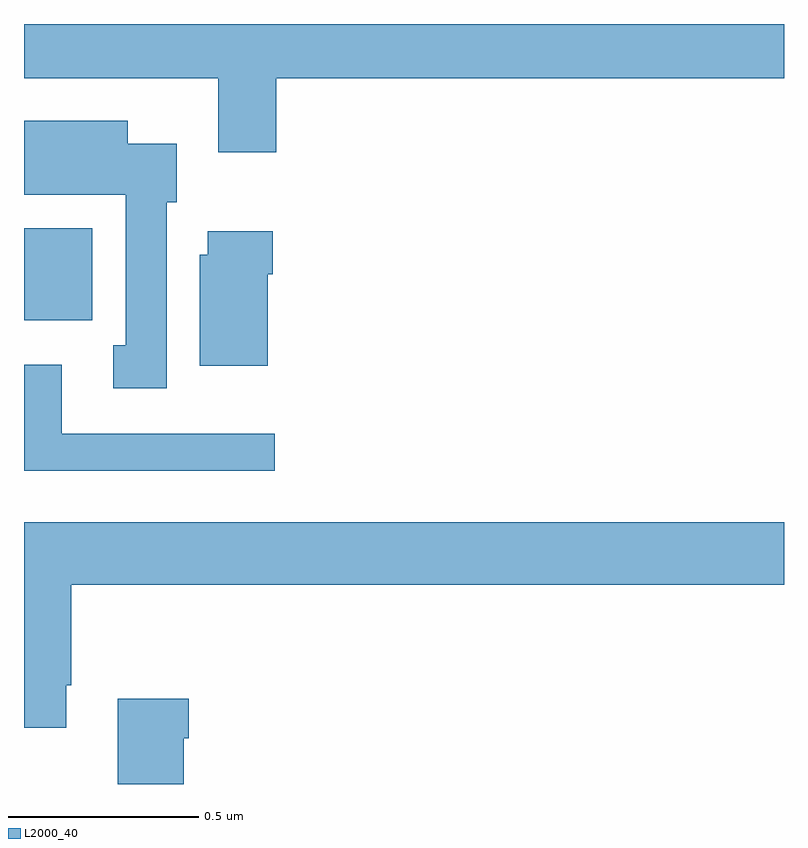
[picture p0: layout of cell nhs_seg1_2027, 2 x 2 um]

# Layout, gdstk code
import gdstk
lib = gdstk.Library(unit=1e-6, precision=1e-09)
def R(c, l, rs):  # rectangles x0, y0, x1, y1
    for r in rs: c.add(gdstk.rectangle(r[:2], r[2:], *l))
def P(c, l, *ps):  # polygons
    for p in ps: c.add(gdstk.Polygon(p, *l))
L2000_40 = (2000, 40)

nhs_seg1_2027 = lib.new_cell('nhs_seg1_2027')
R(nhs_seg1_2027, L2000_40, [(136,560.42,136.18,560.662)])
P(nhs_seg1_2027, L2000_40, [(136.664,561.056),(138,561.056),(138,561.199),(136,561.199),(136,561.056),(136.511,561.056),(136.511,560.862),(136.664,560.862)],
  [(136.375,560.73),(136.402,560.73),(136.402,560.884),(136.273,560.884),(136.273,560.944),(136,560.944),(136,560.75),(136.268,560.75),(136.268,560.354),(136.235,560.354),(136.235,560.241),(136.375,560.241)],
  [(136.642,560.54),(136.655,560.54),(136.655,560.653),(136.484,560.653),(136.484,560.592),(136.463,560.592),(136.463,560.3),(136.642,560.3)],
  [(136.66,560.121),(136.099,560.121),(136.099,560.302),(136,560.302),(136,560.024),(136.66,560.024)],
  [(136.111,559.459),(136.124,559.459),(136.124,559.724),(138,559.724),(138,559.888),(136,559.888),(136,559.347),(136.111,559.347)],
  [(136.42,559.319),(136.433,559.319),(136.433,559.423),(136.247,559.423),(136.247,559.199),(136.42,559.199)])

lib.write_gds('nhs_seg1_2027.gds')
